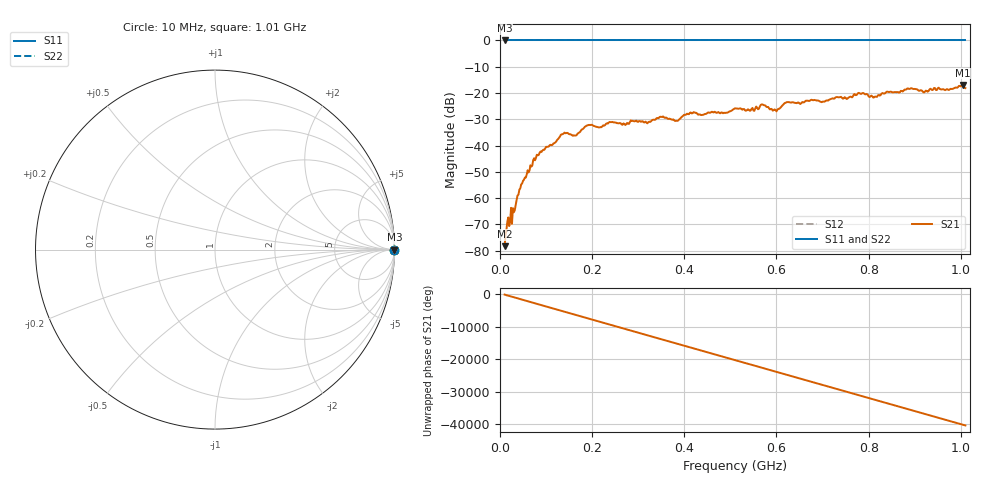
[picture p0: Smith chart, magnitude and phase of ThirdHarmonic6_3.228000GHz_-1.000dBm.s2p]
! 8/17/2025 9:52:34 AM
! C:\ANRITSUVNA\TEMP\TEMP.S2P
! CHANNEL.1
! TR.MEASUREMENT
! RAW.DATA
! RF.CORRECTION.OFF
! AVERAGING.OFF
! IF.BANDWIDTH: 5KHZ
! SWEEPTYPE:  FREQ.SWEEP(Linear)
! Reference Plane Port Info
! PORT:  PORT1  PORT2
! DISTANCE:  0  m  0  m
! TIME:  0  s  0  s
! PHASE.OFFSET:  0  deg.  0  deg.
! LOSS:  0  dB  0  dB
! REF.LOSS:  0  dB  0  dB
! REF.FREQ:  0  Hz  0  Hz
! Power Info
! POWER:  -20  dBm  -20  dBm
! EFF.POWER:  -20  dBm  -20  dBm
! SOURCE.ATTEN:  0  dB  0  dB
! TEST.ATTEN:  0  dB  0  dB
# GHZ S RI R 50.0
! FREQ.GHZ  S11RE  S11IM  S21RE  S21IM  S12RE  S12IM  S22RE  S22IM
!; PortSelection: Port_12
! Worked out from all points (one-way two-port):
!   501 points, 10 MHz to 1.01 GHz, reference 50 ohm
!   highest |S21| = -16.89 dB at 1.004 GHz (marker M1); lowest = -78.2 dB at 10 MHz (marker M2)
!   lowest |S11| = 0.0 dB at 10 MHz (marker M3)
!   |S11| at or under -10 dB: nowhere
!   |S22| runs from 0.0 to 0.0 dB; largest |S21 - S12| = 1.1
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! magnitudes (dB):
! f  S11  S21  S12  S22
! 10 MHz  0.0  -78.2  0.0  0.0
! 20 MHz  0.0  -70.6  0.0  0.0
! 30 MHz  0.0  -65.4  0.0  0.0
! 46 MHz  0.0  -54.8  0.0  0.0
! 76 MHz  0.0  -45.6  0.0  0.0
! 136 MHz  0.0  -35.7  0.0  0.0
! 162 MHz  0.0  -36.2  0.0  0.0
! 178 MHz  0.0  -33.8  0.0  0.0
! 194 MHz  0.0  -32.1  0.0  0.0
! 344 MHz  0.0  -29.6  0.0  0.0
! 384 MHz  0.0  -30.6  0.0  0.0
! 416 MHz  0.0  -27.7  0.0  0.0
! 510 MHz  0.0  -25.8  0.0  0.0
! 570 MHz  0.0  -24.3  0.0  0.0
! 596 MHz  0.0  -26.2  0.0  0.0
! 622 MHz  0.0  -23.5  0.0  0.0
! 678 MHz  0.0  -22.7  0.0  0.0
! 782 MHz  0.0  -20.3  0.0  0.0
! 814 MHz  0.0  -21.3  0.0  0.0
! 844 MHz  0.0  -19.6  0.0  0.0
! 1.004 GHz  0.0  -16.9  0.0  0.0
! 1.01 GHz  0.0  -18.1  0.0  0.0
